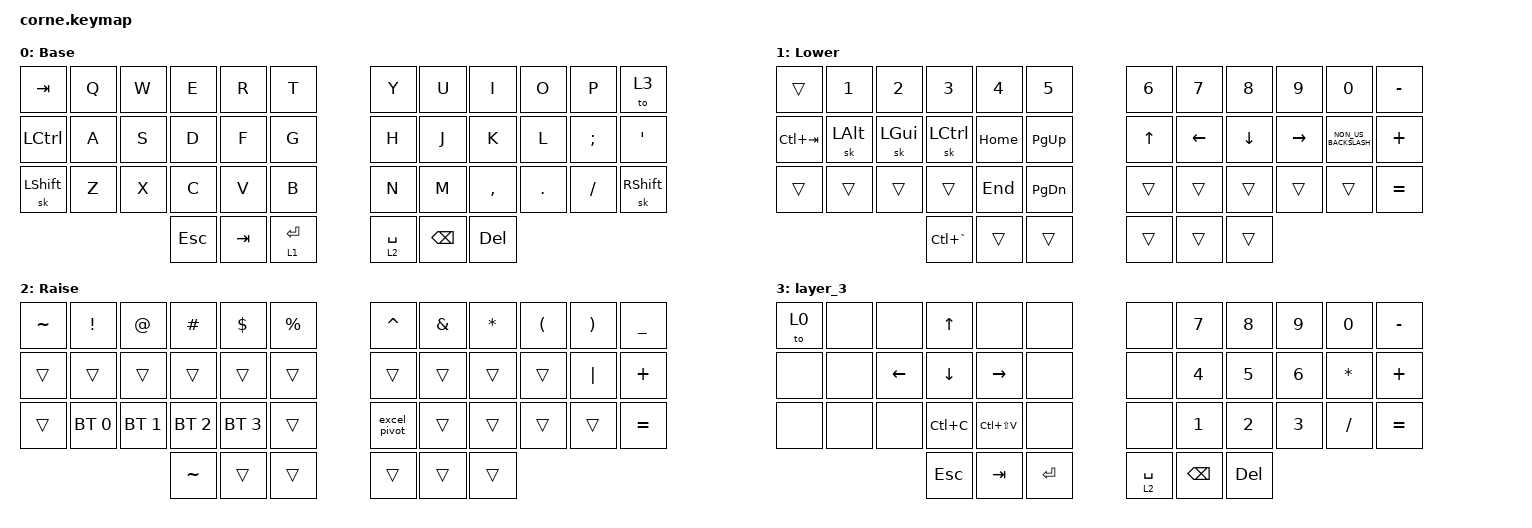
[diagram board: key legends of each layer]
/*
 * Copyright (c) 2020 The ZMK Contributors
 *
 * SPDX-License-Identifier: MIT
 */

#include <dt-bindings/zmk/mouse.h>
#include <behaviors.dtsi>
#include <dt-bindings/zmk/bt.h>
#include <dt-bindings/zmk/keys.h>

/ {
    combos {
        compatible = "zmk,combos";

        f1 {
            bindings = <&kp F1>;
            key-positions = <1 13>;
            layers = <0>;
        };

        f2 {
            bindings = <&kp F2>;
            key-positions = <2 14>;
            layers = <0>;
        };

        f3 {
            bindings = <&kp F3>;
            key-positions = <3 15>;
        };

        f4 {
            bindings = <&kp F4>;
            key-positions = <4 16>;
            layers = <0>;
        };

        f5 {
            bindings = <&kp F5>;
            key-positions = <5 17>;
            layers = <0>;
        };

        f6 {
            bindings = <&kp F6>;
            key-positions = <6 18>;
            layers = <0>;
        };

        f7 {
            bindings = <&kp F7>;
            key-positions = <7 19>;
            layers = <0>;
        };

        f8 {
            bindings = <&kp F8>;
            key-positions = <8 20>;
            layers = <0>;
        };

        f9 {
            bindings = <&kp F9>;
            key-positions = <9 21>;
            layers = <0>;
        };

        f10 {
            bindings = <&kp F10>;
            key-positions = <10 22>;
            layers = <0>;
        };

        prtscrn {
            bindings = <&kp PRINTSCREEN>;
            key-positions = <9 10>;
            layers = <0>;
        };

        ctrl_l {
            bindings = <&sk LEFT_CONTROL>;
            key-positions = <14 15>;
        };

        ctrl_r {
            bindings = <&sk LEFT_CONTROL>;
            key-positions = <21 20>;
        };

        alt_l {
            bindings = <&sk LEFT_ALT>;
            key-positions = <2 3>;
        };

        alt_r {
            bindings = <&sk LEFT_ALT>;
            key-positions = <9 8>;
        };
    };

    macros {
        excel_pivot: excel_pivot {
            compatible = "zmk,behavior-macro";
            label = "EXCEL_PIVOT";
            #binding-cells = <0>;
            bindings =
                <&macro_press>,
                <&kp LEFT_ALT &kp N &kp V>,
                <&macro_tap>,
                <&kp T>,
                <&macro_release>,
                <&kp LEFT_ALT &kp N &kp V>;
        };
    };

    behaviors {
        lshft_bksp_del: lshft_bksp_del {
            compatible = "zmk,behavior-mod-morph";
            label = "LSHFT_BKSP_DEL";
            bindings = <&kp BACKSPACE>, <&kp DELETE>;

            #binding-cells = <0>;
            mods = <(MOD_LSFT)>;
        };

        hold_tap_layer: hold_tap_layer {
            compatible = "zmk,behavior-hold-tap";
            label = "HOLD_TAP_LAYER";
            bindings = <&mo>, <&kp>;

            #binding-cells = <2>;
            tapping-term-ms = <280>;
            flavor = "balanced";
            quick-tap-ms = <175>;
            require-prior-idle-ms = <130>;
            hold-trigger-on-release;
        };

        holdshft_ctrl: holdshft_ctrl {
            compatible = "zmk,behavior-hold-tap";
            label = "HOLDSHFT_CTRL";
            bindings = <&kp>, <&kp>;

            #binding-cells = <2>;
            tapping-term-ms = <280>;
            flavor = "balanced";
            quick-tap-ms = <175>;
            require-prior-idle-ms = <130>;
            hold-trigger-on-release;
            hold-trigger-key-positions = <2 4 5 13 14 15 16 25 26 27 28 29 24 6 7 8 10 21 37 40 41>;
        };
    };

    keymap {
        compatible = "zmk,keymap";

        default_layer {
            // -----------------------------------------------------------------------------------------
            // |  TAB |  Q  |  W  |  E  |  R  |  T  |   |  Y  |  U   |  I  |  O  |  P  | BKSP |
            // | CTRL |  A  |  S  |  D  |  F  |  G  |   |  H  |  J   |  K  |  L  |  ;  |  '   |
            // | SHFT |  Z  |  X  |  C  |  V  |  B  |   |  N  |  M   |  ,  |  .  |  /  | ESC  |
            //                    | GUI | LWR | SPC |   | ENT | RSE  | ALT |

            label = "Base";
            bindings = <
&kp TAB    &kp Q  &kp W  &kp E       &kp R    &kp T                      &kp Y                    &kp U          &kp I       &kp O    &kp P     &to 3
&kp LCTRL  &kp A  &kp S  &kp D       &kp F    &kp G                      &kp H                    &kp J          &kp K       &kp L    &kp SEMI  &kp SQT
&sk LSHFT  &kp Z  &kp X  &kp C       &kp V    &kp B                      &kp N                    &kp M          &kp COMMA   &kp DOT  &kp FSLH  &sk RIGHT_SHIFT
                         &kp ESCAPE  &kp TAB  &hold_tap_layer 1 ENTER    &hold_tap_layer 2 SPACE  &kp BACKSPACE  &kp DELETE
            >;
        };

        lower_layer {
            // -----------------------------------------------------------------------------------------
            // |  TAB |  1  |  2  |  3  |  4  |  5  |   |  6  |  7  |  8  |  9  |  0  | BKSP |
            // | BTCLR| BT1 | BT2 | BT3 | BT4 | BT5 |   | LFT | DWN |  UP | RGT |     |      |
            // | SHFT |     |     |     |     |     |   |     |     |     |     |     |      |
            //                    | GUI |     | SPC |   | ENT |     | ALT |

            label = "Lower";
            bindings = <
&trans       &kp N1        &kp NUMBER_2  &kp N3            &kp N4    &kp N5           &kp NUMBER_6  &kp N7          &kp N8    &kp NUMBER_9  &kp N0                &kp MINUS
&kp LC(TAB)  &sk LEFT_ALT  &sk LEFT_GUI  &sk LEFT_CONTROL  &kp HOME  &kp PAGE_UP      &kp UP_ARROW  &kp LEFT_ARROW  &kp DOWN  &kp RIGHT     &kp NON_US_BACKSLASH  &kp PLUS
&trans       &trans        &trans        &trans            &kp END   &kp PAGE_DOWN    &trans        &trans          &trans    &trans        &trans                &kp EQUAL
                                         &kp LC(GRAVE)     &trans    &trans           &trans        &trans          &trans
            >;
        };

        raise_layer {
            // -----------------------------------------------------------------------------------------
            // |  TAB |  !  |  @  |  #  |  $  |  %  |   |  ^  |  &  |  *  |  (  |  )  | BKSP |
            // | CTRL |     |     |     |     |     |   |  -  |  =  |  [  |  ]  |  \  |  `   |
            // | SHFT |     |     |     |     |     |   |  _  |  +  |  {  |  }  | "|" |  ~   |
            //                    | GUI |     | SPC |   | ENT |     | ALT |

            label = "Raise";
            bindings = <
&kp TILDE  &kp EXCLAMATION  &kp AT_SIGN   &kp HASH      &kp DOLLAR    &kp PERCENT    &kp CARET     &kp AMPERSAND  &kp ASTERISK  &kp LEFT_PARENTHESIS  &kp RIGHT_PARENTHESIS  &kp UNDERSCORE
&trans     &trans           &trans        &trans        &trans        &trans         &trans        &trans         &trans        &trans                &kp PIPE               &kp PLUS
&trans     &bt BT_SEL 0     &bt BT_SEL 1  &bt BT_SEL 2  &bt BT_SEL 3  &trans         &excel_pivot  &trans         &trans        &trans                &trans                 &kp EQUAL
                                          &kp TILDE     &trans        &trans         &trans        &trans         &trans
            >;
        };

        layer_3 {
            bindings = <
&to 0  &none  &none           &kp UP_ARROW  &none          &none        &none                    &kp N7         &kp N8      &kp N9  &kp N0        &kp MINUS
&none  &none  &kp LEFT_ARROW  &kp DOWN      &kp RIGHT      &none        &none                    &kp N4         &kp N5      &kp N6  &kp ASTERISK  &kp PLUS
&none  &none  &none           &kp LC(C)     &kp LC(LS(V))  &none        &none                    &kp N1         &kp N2      &kp N3  &kp SLASH     &kp EQUAL
                              &kp ESCAPE    &kp TAB        &kp ENTER    &hold_tap_layer 2 SPACE  &kp BACKSPACE  &kp DELETE
            >;
        };
    };
};
